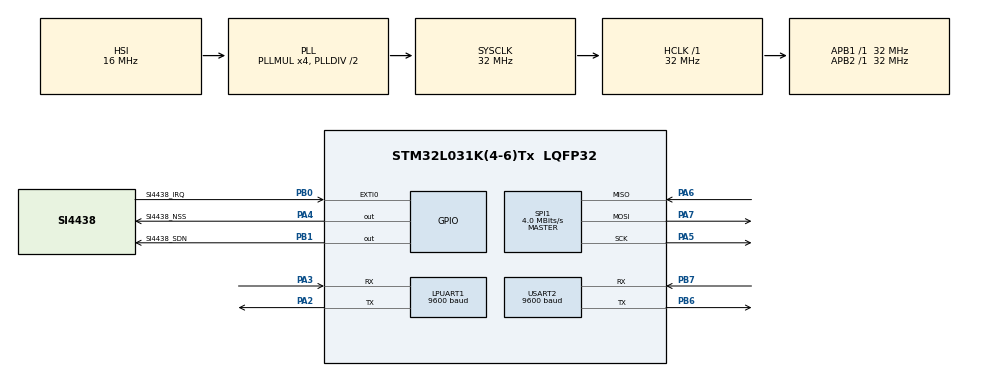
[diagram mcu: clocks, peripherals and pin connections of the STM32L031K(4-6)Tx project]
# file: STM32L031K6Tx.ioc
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LPUART1.BaudRate=9600
LPUART1.WordLength=UART_WORDLENGTH_8B
Mcu.Family=STM32L0
Mcu.Name=STM32L031K(4-6)Tx
Mcu.Package=LQFP32
NVIC.AES_RNG_LPUART1_IRQn=true\:0\:0\:true\:false\:true\:true
NVIC.EXTI0_1_IRQn=true\:0\:0\:true\:false\:true\:true
NVIC.USART2_IRQn=true\:0\:0\:true\:false\:true\:true
PA2.Mode=Asynchronous
PA2.Signal=LPUART1_TX
PA3.Mode=Asynchronous
PA3.Signal=LPUART1_RX
PA4.GPIO_Label=SI4438_NSS
PA4.GPIO_Speed=GPIO_SPEED_FREQ_HIGH
PA4.Signal=GPIO_Output
PA5.Mode=Full_Duplex_Master
PA5.Signal=SPI1_SCK
PA6.Mode=Full_Duplex_Master
PA6.Signal=SPI1_MISO
PA7.Mode=Full_Duplex_Master
PA7.Signal=SPI1_MOSI
PB0.GPIO_Label=SI4438_IRQ
PB0.GPIO_ModeDefaultEXTI=GPIO_MODE_IT_FALLING
PB0.Signal=GPXTI0
PB1.GPIO_Label=SI4438_SDN
PB1.GPIO_Speed=GPIO_SPEED_FREQ_HIGH
PB1.Signal=GPIO_Output
PB6.Mode=Asynchronous
PB6.Signal=USART2_TX
PB7.Mode=Asynchronous
PB7.Signal=USART2_RX
ProjectManager.HeapSize=0x200
ProjectManager.StackSize=0x400
ProjectManager.TargetToolchain=MDK-ARM V5
RCC.AHBFreq_Value=32000000
RCC.APB1Freq_Value=32000000
RCC.APB1TimFreq_Value=32000000
RCC.APB2Freq_Value=32000000
RCC.APB2TimFreq_Value=32000000
RCC.HCLKFreq_Value=32000000
RCC.HSE_VALUE=8000000
RCC.HSI16_VALUE=16000000
RCC.HSI_VALUE=16000000
RCC.LSE_VALUE=32768
RCC.MSI_VALUE=2097000
RCC.PLLMUL=RCC_PLLMUL_4
RCC.SYSCLKFreq_VALUE=32000000
RCC.SYSCLKSource=RCC_SYSCLKSOURCE_PLLCLK
RCC.VCOOutputFreq_Value=64000000
SPI1.BaudRatePrescaler=SPI_BAUDRATEPRESCALER_8
SPI1.CalculateBaudRate=4.0 MBits/s
SPI1.Direction=SPI_DIRECTION_2LINES
SPI1.Mode=SPI_MODE_MASTER
SPI1.VirtualType=VM_MASTER
USART2.BaudRate=9600
USART2.DMADisableonRxErrorParam=ADVFEATURE_DMA_DISABLEONRXERROR
USART2.RxPinLevelInvertParam=ADVFEATURE_RXINV_ENABLE
USART2.TxPinLevelInvertParam=ADVFEATURE_TXINV_ENABLE
USART2.VirtualMode-Asynchronous=VM_ASYNC
board=custom

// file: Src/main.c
/**
  ******************************************************************************
  * @file           : main.c
  * @brief          : Main program body
  ******************************************************************************
  ** This notice applies to any and all portions of this file
  * that are not between comment pairs USER CODE BEGIN and
  * USER CODE END. Other portions of this file, whether
  * inserted by the user or by software development tools
  * are owned by their respective copyright owners.
  *
  * COPYRIGHT(c) 2018 STMicroelectronics
  *
  * Redistribution and use in source and binary forms, with or without modification,
  * are permitted provided that the following conditions are met:
  *   1. Redistributions of source code must retain the above copyright notice,
  *      this list of conditions and the following disclaimer.
  *   2. Redistributions in binary form must reproduce the above copyright notice,
  *      this list of conditions and the following disclaimer in the documentation
  *      and/or other materials provided with the distribution.
  *   3. Neither the name of STMicroelectronics nor the names of its contributors
  *      may be used to endorse or promote products derived from this software
  *      without specific prior written permission.
  *
  * THIS SOFTWARE IS PROVIDED BY THE COPYRIGHT HOLDERS AND CONTRIBUTORS "AS IS"
  * AND ANY EXPRESS OR IMPLIED WARRANTIES, INCLUDING, BUT NOT LIMITED TO, THE
  * IMPLIED WARRANTIES OF MERCHANTABILITY AND FITNESS FOR A PARTICULAR PURPOSE ARE
  * DISCLAIMED. IN NO EVENT SHALL THE COPYRIGHT HOLDER OR CONTRIBUTORS BE LIABLE
  * FOR ANY DIRECT, INDIRECT, INCIDENTAL, SPECIAL, EXEMPLARY, OR CONSEQUENTIAL
  * DAMAGES (INCLUDING, BUT NOT LIMITED TO, PROCUREMENT OF SUBSTITUTE GOODS OR
  * SERVICES; LOSS OF USE, DATA, OR PROFITS; OR BUSINESS INTERRUPTION) HOWEVER
  * CAUSED AND ON ANY THEORY OF LIABILITY, WHETHER IN CONTRACT, STRICT LIABILITY,
  * OR TORT (INCLUDING NEGLIGENCE OR OTHERWISE) ARISING IN ANY WAY OUT OF THE USE
  * OF THIS SOFTWARE, EVEN IF ADVISED OF THE POSSIBILITY OF SUCH DAMAGE.
  *
  ******************************************************************************
  */
#include "main.h"
#include "stm32l0xx_hal.h"

/* USER CODE BEGIN Includes */
#include "appTask.h"
#include "wireless_app.h"
#include "wireless_drv.h"
#include "delay.h"
#include "mcu_eeprom.h"
#include "device.h"
#include "encrypt.h"

/* USER CODE END Includes */

UART_HandleTypeDef hlpuart1;
UART_HandleTypeDef huart2;

SPI_HandleTypeDef hspi1;

/* USER CODE BEGIN PV */
/* Private variables ---------------------------------------------------------*/
extern uint8_t const Channel_Frequency_Index[66];
DeviceInfo_t deviecInfo;
uint8_t LP_UartRec;

/* USER CODE END PV */

void SystemClock_Config(void);
static void MX_GPIO_Init(void);
static void MX_SPI1_Init(void);
static void MX_LPUART1_UART_Init(void);
static void MX_USART2_UART_Init(void);

/* USER CODE BEGIN PFP */
/* Private function prototypes -----------------------------------------------*/

/* USER CODE END PFP */

/* USER CODE BEGIN 0 */

//系统省电
void SystemPowerSave(void)
{
    /* enable MCU wake-up by UART */
    HAL_UARTEx_EnableStopMode(&hlpuart1);
    /* enter stop mode */
    HAL_PWR_EnterSTOPMode(PWR_LOWPOWERREGULATOR_ON, PWR_STOPENTRY_WFI);
    HAL_Delay(10);
    HAL_UARTEx_DisableStopMode(&hlpuart1);
    HAL_Delay(10);
}

//根据家庭组切换到新的固定通讯频道上

void Get_WireLessChannel(uint8_t *wire_chnel)
{
    //uint32_t temp_val = deviecInfo.addr_GA[0] + deviecInfo.addr_GA[1] + deviecInfo.addr_GA[2];
    //uint32_t temp_val = 0x00+0x29+0x02;
    uint32_t temp_val = 0x00 + 0x2A + 0x5B;
    if (temp_val == 0)
    {
        wire_chnel[0] = Default_Channel;
        wire_chnel[1] = Default_Channel;
    }
    else
    {
        wire_chnel[0] = (temp_val & 0x1f) << 1; //共32个信道组，每个信道组有两个信道
        wire_chnel[1] = wire_chnel[0] + 1;
    }

    RF_RX_HOP_CONTROL_12[7] = Channel_Frequency_Index[wire_chnel[0]]; //放入群组的主频道
    RF_RX_HOP_CONTROL_12[8] = Channel_Frequency_Index[wire_chnel[1]]; //放入群组的备用频道
}

/* USER CODE END 0 */

int main(void)
{

  /* MCU Configuration----------------------------------------------------------*/

  /* Reset of all peripherals, Initializes the Flash interface and the Systick. */
  HAL_Init();

  /* Configure the system clock */
  SystemClock_Config();

  /* USER CODE BEGIN SysInit */
    __HAL_RCC_WAKEUPSTOP_CLK_CONFIG(RCC_STOP_WAKEUPCLOCK_HSI); /* Select HSI as wakeup clock from stop mode */
    __HAL_RCC_LPUART1_CONFIG(RCC_LPUART1CLKSOURCE_HSI);        /* HSI must be UART clock source to be able to wake up the MCU */
    delay_init(16);
  /* USER CODE END SysInit */

  /* Initialize all configured peripherals */
  AES_Init();
  MX_GPIO_Init();
  MX_SPI1_Init();
  MX_LPUART1_UART_Init();
  MX_USART2_UART_Init();
  /* USER CODE BEGIN 2 */
    HAL_UART_Receive_IT(&hlpuart1, &LP_UartRec, 1);
    Get_WireLessChannel(Wireless_Channel);
    Wireless_Init();
    Si4438_Receive_Start(Wireless_Channel[0]); //开始接收无线数据
    MCU_EEPRomTest();

	EncryptTest();
	 _74Code_Test();
  /* USER CODE END 2 */

  /* Infinite loop */
  /* USER CODE BEGIN WHILE */
	UartSendBytes(LPUART1,(uint8_t*)"123456",6);

    while (1)
    {

  /* USER CODE END WHILE */

  /* USER CODE BEGIN 3 */
        WirelessTask();
        UartTask();

    }
  /* USER CODE END 3 */

}

void SystemClock_Config(void)
{

  RCC_OscInitTypeDef RCC_OscInitStruct;
  RCC_ClkInitTypeDef RCC_ClkInitStruct;
  RCC_PeriphCLKInitTypeDef PeriphClkInit;

    /**Configure the main internal regulator output voltage
    */
  __HAL_PWR_VOLTAGESCALING_CONFIG(PWR_REGULATOR_VOLTAGE_SCALE1);

    /**Initializes the CPU, AHB and APB busses clocks
    */
  RCC_OscInitStruct.OscillatorType = RCC_OSCILLATORTYPE_HSI;
  RCC_OscInitStruct.HSIState = RCC_HSI_ON;
  RCC_OscInitStruct.HSICalibrationValue = 16;
  RCC_OscInitStruct.PLL.PLLState = RCC_PLL_ON;
  RCC_OscInitStruct.PLL.PLLSource = RCC_PLLSOURCE_HSI;
  RCC_OscInitStruct.PLL.PLLMUL = RCC_PLLMUL_4;
  RCC_OscInitStruct.PLL.PLLDIV = RCC_PLLDIV_2;
  if (HAL_RCC_OscConfig(&RCC_OscInitStruct) != HAL_OK)
  {
    _Error_Handler(__FILE__, __LINE__);
  }

    /**Initializes the CPU, AHB and APB busses clocks
    */
  RCC_ClkInitStruct.ClockType = RCC_CLOCKTYPE_HCLK|RCC_CLOCKTYPE_SYSCLK
                              |RCC_CLOCKTYPE_PCLK1|RCC_CLOCKTYPE_PCLK2;
  RCC_ClkInitStruct.SYSCLKSource = RCC_SYSCLKSOURCE_PLLCLK;
  RCC_ClkInitStruct.AHBCLKDivider = RCC_SYSCLK_DIV1;
  RCC_ClkInitStruct.APB1CLKDivider = RCC_HCLK_DIV1;
  RCC_ClkInitStruct.APB2CLKDivider = RCC_HCLK_DIV1;

  if (HAL_RCC_ClockConfig(&RCC_ClkInitStruct, FLASH_LATENCY_1) != HAL_OK)
  {
    _Error_Handler(__FILE__, __LINE__);
  }

  PeriphClkInit.PeriphClockSelection = RCC_PERIPHCLK_USART2|RCC_PERIPHCLK_LPUART1;
  PeriphClkInit.Usart2ClockSelection = RCC_USART2CLKSOURCE_PCLK1;
  PeriphClkInit.Lpuart1ClockSelection = RCC_LPUART1CLKSOURCE_PCLK1;
  if (HAL_RCCEx_PeriphCLKConfig(&PeriphClkInit) != HAL_OK)
  {
    _Error_Handler(__FILE__, __LINE__);
  }

    /**Configure the Systick interrupt time
    */
  HAL_SYSTICK_Config(HAL_RCC_GetHCLKFreq()/1000);

    /**Configure the Systick
    */
  HAL_SYSTICK_CLKSourceConfig(SYSTICK_CLKSOURCE_HCLK);

  /* SysTick_IRQn interrupt configuration */
  HAL_NVIC_SetPriority(SysTick_IRQn, 0, 0);
}

/* LPUART1 init function */
static void MX_LPUART1_UART_Init(void)
{

  hlpuart1.Instance = LPUART1;
  hlpuart1.Init.BaudRate = 9600;
  hlpuart1.Init.WordLength = UART_WORDLENGTH_8B;
  hlpuart1.Init.StopBits = UART_STOPBITS_1;
  hlpuart1.Init.Parity = UART_PARITY_NONE;
  hlpuart1.Init.Mode = UART_MODE_TX_RX;
  hlpuart1.Init.HwFlowCtl = UART_HWCONTROL_NONE;
  hlpuart1.Init.OneBitSampling = UART_ONE_BIT_SAMPLE_DISABLE;
  hlpuart1.AdvancedInit.AdvFeatureInit = UART_ADVFEATURE_NO_INIT;
  if (HAL_UART_Init(&hlpuart1) != HAL_OK)
  {
    _Error_Handler(__FILE__, __LINE__);
  }

}

/* USART2 init function */
static void MX_USART2_UART_Init(void)
{

  huart2.Instance = USART2;
  huart2.Init.BaudRate = 9600;
  huart2.Init.WordLength = UART_WORDLENGTH_8B;
  huart2.Init.StopBits = UART_STOPBITS_1;
  huart2.Init.Parity = UART_PARITY_NONE;
  huart2.Init.Mode = UART_MODE_TX_RX;
  huart2.Init.HwFlowCtl = UART_HWCONTROL_NONE;
  huart2.Init.OverSampling = UART_OVERSAMPLING_16;
  huart2.Init.OneBitSampling = UART_ONE_BIT_SAMPLE_DISABLE;
  huart2.AdvancedInit.AdvFeatureInit = UART_ADVFEATURE_TXINVERT_INIT|UART_ADVFEATURE_RXINVERT_INIT
                              |UART_ADVFEATURE_DMADISABLEONERROR_INIT;
  huart2.AdvancedInit.TxPinLevelInvert = UART_ADVFEATURE_TXINV_ENABLE;
  huart2.AdvancedInit.RxPinLevelInvert = UART_ADVFEATURE_RXINV_ENABLE;
  huart2.AdvancedInit.DMADisableonRxError = UART_ADVFEATURE_DMA_DISABLEONRXERROR;
  if (HAL_UART_Init(&huart2) != HAL_OK)
  {
    _Error_Handler(__FILE__, __LINE__);
  }

}

/* SPI1 init function */
static void MX_SPI1_Init(void)
{

  /* SPI1 parameter configuration*/
  hspi1.Instance = SPI1;
  hspi1.Init.Mode = SPI_MODE_MASTER;
  hspi1.Init.Direction = SPI_DIRECTION_2LINES;
  hspi1.Init.DataSize = SPI_DATASIZE_8BIT;
  hspi1.Init.CLKPolarity = SPI_POLARITY_LOW;
  hspi1.Init.CLKPhase = SPI_PHASE_1EDGE;
  hspi1.Init.NSS = SPI_NSS_SOFT;
  hspi1.Init.BaudRatePrescaler = SPI_BAUDRATEPRESCALER_8;
  hspi1.Init.FirstBit = SPI_FIRSTBIT_MSB;
  hspi1.Init.TIMode = SPI_TIMODE_DISABLE;
  hspi1.Init.CRCCalculation = SPI_CRCCALCULATION_DISABLE;
  hspi1.Init.CRCPolynomial = 7;
  if (HAL_SPI_Init(&hspi1) != HAL_OK)
  {
    _Error_Handler(__FILE__, __LINE__);
  }

}

/** Configure pins as
        * Analog
        * Input
        * Output
        * EVENT_OUT
        * EXTI
*/
static void MX_GPIO_Init(void)
{

  GPIO_InitTypeDef GPIO_InitStruct;

  /* GPIO Ports Clock Enable */
  __HAL_RCC_GPIOA_CLK_ENABLE();
  __HAL_RCC_GPIOB_CLK_ENABLE();

  /*Configure GPIO pin Output Level */
  HAL_GPIO_WritePin(SI4438_NSS_GPIO_Port, SI4438_NSS_Pin, GPIO_PIN_RESET);

  /*Configure GPIO pin Output Level */
  HAL_GPIO_WritePin(SI4438_SDN_GPIO_Port, SI4438_SDN_Pin, GPIO_PIN_RESET);

  /*Configure GPIO pin : SI4438_NSS_Pin */
  GPIO_InitStruct.Pin = SI4438_NSS_Pin;
  GPIO_InitStruct.Mode = GPIO_MODE_OUTPUT_PP;
  GPIO_InitStruct.Pull = GPIO_NOPULL;
  GPIO_InitStruct.Speed = GPIO_SPEED_FREQ_HIGH;
  HAL_GPIO_Init(SI4438_NSS_GPIO_Port, &GPIO_InitStruct);

  /*Configure GPIO pin : SI4438_IRQ_Pin */
  GPIO_InitStruct.Pin = SI4438_IRQ_Pin;
  GPIO_InitStruct.Mode = GPIO_MODE_IT_FALLING;
  GPIO_InitStruct.Pull = GPIO_NOPULL;
  HAL_GPIO_Init(SI4438_IRQ_GPIO_Port, &GPIO_InitStruct);

  /*Configure GPIO pin : SI4438_SDN_Pin */
  GPIO_InitStruct.Pin = SI4438_SDN_Pin;
  GPIO_InitStruct.Mode = GPIO_MODE_OUTPUT_PP;
  GPIO_InitStruct.Pull = GPIO_NOPULL;
  GPIO_InitStruct.Speed = GPIO_SPEED_FREQ_HIGH;
  HAL_GPIO_Init(SI4438_SDN_GPIO_Port, &GPIO_InitStruct);

  /* EXTI interrupt init*/
  HAL_NVIC_SetPriority(EXTI0_1_IRQn, 0, 0);
  HAL_NVIC_EnableIRQ(EXTI0_1_IRQn);

}

void _Error_Handler(char *file, int line)
{
    while (1)
    {
    }
}

#ifdef  USE_FULL_ASSERT
/**
  * @brief  Reports the name of the source file and the source line number
  *         where the assert_param error has occurred.
  * @param  file: pointer to the source file name
  * @param  line: assert_param error line source number
  * @retval None
  */
void assert_failed(uint8_t* file, uint32_t line)
{
  /* USER CODE BEGIN 6 */
    /* User can add his own implementation to report the file name and line number,
     tex: DEBUG_Printf("Wrong parameters value: file %s on line %d\r\n", file, line) */
  /* USER CODE END 6 */
}
#endif /* USE_FULL_ASSERT */

/************************ (C) COPYRIGHT STMicroelectronics *****END OF FILE****/
